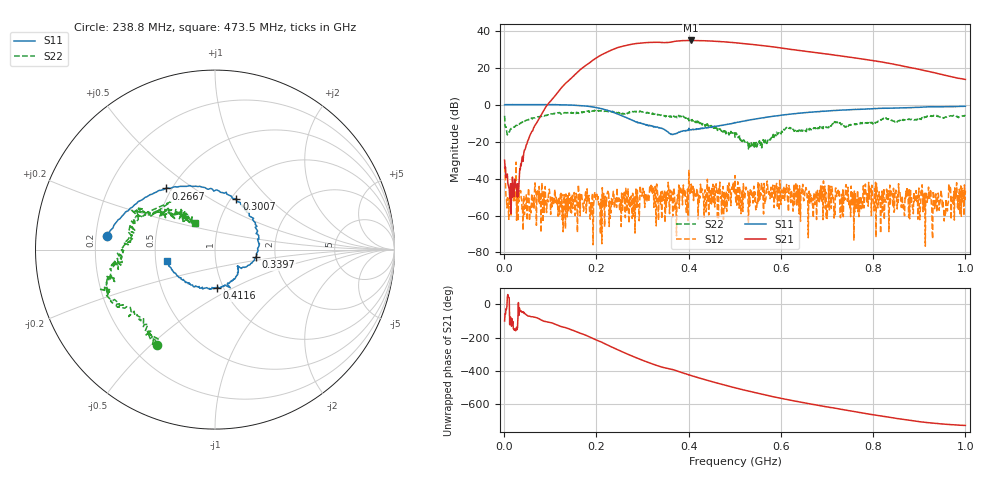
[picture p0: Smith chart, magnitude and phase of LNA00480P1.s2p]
! Created with skrf 1.9.0 (http://scikit-rf.org).
# Hz S RI R 50.0
!freq ReS11 ImS11 ReS21 ImS21 ReS12 ImS12 ReS22 ImS22
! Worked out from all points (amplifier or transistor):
!   1001 points, 1 MHz to 1 GHz, reference 50 ohm
!   highest |S21| = 34.7 dB at 404.6 MHz (marker M1)
!   |S21| within 3 dB of that: 259.2 MHz to 566.4 MHz (307.2 MHz wide, 74.4 % of centre) (the widest 1 of 2)
!   unconditionally stable (mu >= 1): 198.1 MHz to 215.8 MHz; 226.8 MHz to 400.2 MHz; 401 MHz to end of sweep (the widest 3 of 40)
!   at 166.8 MHz: K = 0.68, MSG = 34.7 dB, |S12| = -50.1 dB
!   at 500.5 MHz: K = 1.02, MAG = 35.1 dB, |S12| = -38.4 dB
!   at 1 GHz: K = 2.64, MAG = 23.0 dB, |S12| = -46.6 dB
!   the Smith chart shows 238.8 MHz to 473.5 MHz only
!   S11 on the Smith chart (normalised r, x): 238.8 MHz: 0.25, +0.06; 266.7 MHz: 0.46, +0.39; 300.7 MHz: 1.06, +0.66; 339.7 MHz: 1.58, -0.13; 411.6 MHz: 0.93, -0.41; 473.5 MHz: 0.57, -0.08
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1000000  0.9828 -0.0127  -0.00609 -0.0307  -0.0106 0.018  0.3883 0.3133
1.08892e8  0.5308 -0.8451  -0.7859 -1.447  -0.0014 0.00299  0.4114 -0.3854
1.67833e8  -0.2154 -0.9074  -9.398 -0.5408  -0.000357 -0.00402  0.0136 -0.6395
2.08792e8  -0.6637 -0.4223  -15.14 15.27  0.000122 -0.000289  -0.2292 -0.6281
2.38762e8  -0.5998 0.0771  -3.444 32.05  -0.000193 -0.00174  -0.3246 -0.5337
2.66734e8  -0.2751 0.3405  19.43 35.75  -0.00137 0.00206  -0.4669 -0.3459
3.007e8  0.1195 0.2829  42.92 18.48  -0.00142 0.00527  -0.6049 -0.1813
3.18682e8  0.225 0.1501  48.42 4.266  -0.00444 0.00487  -0.5758 -0.098
3.34666e8  0.2368 0.00548  47.72 -8.804  0.000384 -0.000633  -0.5346 -0.0354
3.39661e8  0.2281 -0.0403  46.41 -12.31  0.00222 0.00371  -0.5133 -0.013
3.73627e8  0.126 -0.1066  40.87 -32.74  0.000124 0.000252  -0.4371 0.1885
4.04596e8  0.0515 -0.2005  21.51 -49.98  -0.00175 0.00384  -0.3464 0.2003
4.11589e8  0.00861 -0.213  16.4 -51.49  0.00255 0.00494  -0.2689 0.1994
4.41559e8  -0.1419 -0.1899  -6.365 -52.69  0.00208 0.00126  -0.1884 0.2117
4.73527e8  -0.2681 -0.0662  -26.05 -43.09  0.00442 -0.000413  -0.1092 0.1507
5.005e8  -0.317 0.0875  -36.76 -30.14  0.0108 0.00526  -0.0632 0.1145
5.4046e8  -0.2592 0.3049  -41.01 -9.294  0.00412 -0.00198  -0.0823 0.0224
5.88412e8  -0.0702 0.4873  -34.13 10.44  0.00308 -0.00205  -0.1311 -0.0696
6.67333e8  0.3092 0.5466  -13.44 22.43  0.000649 -0.00289  -0.2291 -0.0334
7.55245e8  0.6284 0.3802  3.507 18.41  -0.00328 -0.00255  -0.2864 0.0393
8.34166e8  0.7854 0.159  9.496 9.036  -7.7e-05 -0.000359  -0.4052 0.0325
1e9  0.8228 -0.3733  4.781 -0.4774  -0.00185 0.0043  -0.2961 0.3974
